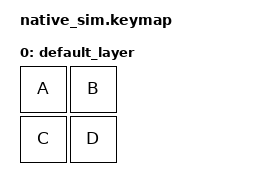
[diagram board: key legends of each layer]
#include <dt-bindings/zmk/keys.h>
#include <behaviors.dtsi>
#include <dt-bindings/zmk/input_mock.h>

/ {
    combos {
        compatible = "zmk,combos";
        combo_one {
            timeout-ms = <80>;
            key-positions = <0 1 2 3>;
            bindings = <&kp Z>;
        };
    };

    keymap {
        compatible = "zmk,keymap";

        default_layer {
            bindings = <
                &kp A &kp B
                &kp C &kp D
            >;
        };
    };
};

&mock_input {
    events = <
        ZMK_INPUT_MOCK_PRESS(1,1,10)
        ZMK_INPUT_MOCK_PRESS(0,1,10)
        ZMK_INPUT_MOCK_PRESS(1,0,10)
        ZMK_INPUT_MOCK_PRESS(0,0,10)
        ZMK_INPUT_MOCK_RELEASE(0,0,100)
        ZMK_INPUT_MOCK_RELEASE(1,0,100)
        ZMK_INPUT_MOCK_RELEASE(0,1,100)
        ZMK_INPUT_MOCK_RELEASE(1,1,100)
    >;
};
